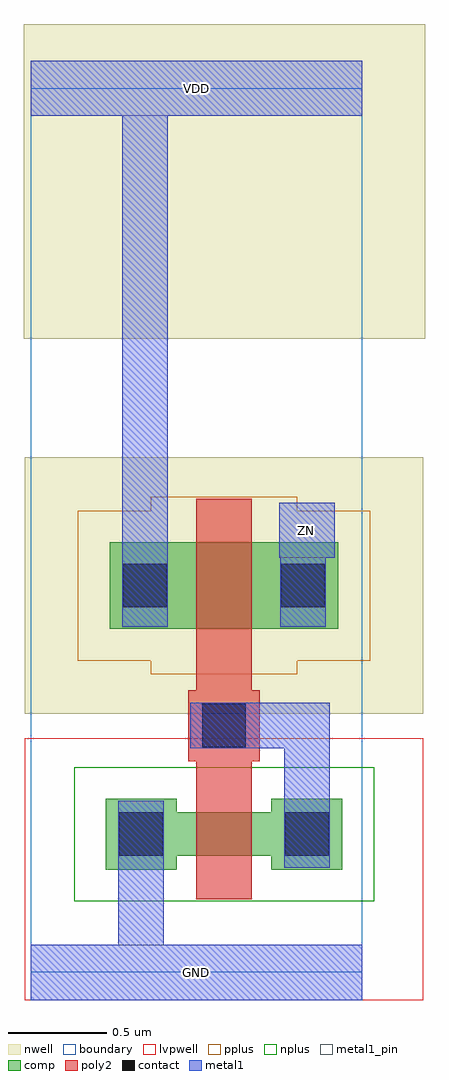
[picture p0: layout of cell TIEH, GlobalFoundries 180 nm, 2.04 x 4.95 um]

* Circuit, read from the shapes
.subckt TIEH GND VDD ZN
XM1 n1 n1 GND VSUBS nfet_03v3 w=0.22u l=0.28u
XM2 ZN n1 VDD n2 pfet_03v3 w=0.44u l=0.28u
.ends

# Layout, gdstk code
import gdstk
lib = gdstk.Library(unit=1e-6, precision=1e-09)
def R(c, l, rs):  # rectangles x0, y0, x1, y1
    for r in rs: c.add(gdstk.rectangle(r[:2], r[2:], *l))
boundary = (0, 0)
nwell = (21, 0)
comp = (22, 0)
poly2 = (30, 0)
pplus = (31, 0)
nplus = (32, 0)
contact = (33, 0)
metal1 = (34, 0)
metal1_pin = (34, 10)
lvpwell = (204, 0)

tieh = lib.new_cell('TIEH')
R(tieh, boundary, [(0,0,1.68,4.48)])
R(tieh, nwell, [(-0.03,1.31,1.99,2.61), (-0.035,3.21,2,4.805)])
R(tieh, comp, [(0.38,0.52,0.74,0.59), (1.22,0.52,1.58,0.59), (0.38,0.59,1.58,0.81), (0.38,0.81,0.74,0.88), (1.22,0.81,1.58,0.88), (0.4,1.74,1.56,2.18)])
R(tieh, poly2, [(0.84,0.37,1.12,1.07), (0.8,1.07,1.16,1.43), (0.84,1.43,1.12,2.4)])
R(tieh, pplus, [(0.61,1.51,1.35,1.58), (0.24,1.58,1.72,2.34), (0.61,2.34,1.35,2.41)])
R(tieh, nplus, [(0.22,0.36,1.74,1.04)])
R(tieh, contact, [(0.45,0.59,0.67,0.81), (1.29,0.59,1.51,0.81), (0.87,1.14,1.09,1.36), (0.47,1.85,0.69,2.07), (1.27,1.85,1.49,2.07)])
R(tieh, metal1, [(0,-0.14,1.68,0.14), (0.445,0.14,0.675,0.87), (1.285,0.53,1.515,1.135), (0.81,1.135,1.515,1.365), (0.465,1.75,0.695,4.34), (1.265,1.75,1.495,2.1), (1.26,2.1,1.54,2.38), (0,4.34,1.68,4.62)])
R(tieh, metal1_pin, [(0,-0.14,1.68,0.14), (1.26,2.1,1.54,2.38), (0,4.34,1.68,4.62)])
R(tieh, lvpwell, [(-0.03,-0.14,1.99,1.185)])
tieh.add(gdstk.Label('VDD', (0.84,4.48), layer=34, texttype=10))
tieh.add(gdstk.Label('GND', (0.84,0), layer=34, texttype=10))
tieh.add(gdstk.Label('ZN', (1.4,2.24), layer=34, texttype=10))

lib.write_gds('TIEH.gds')
